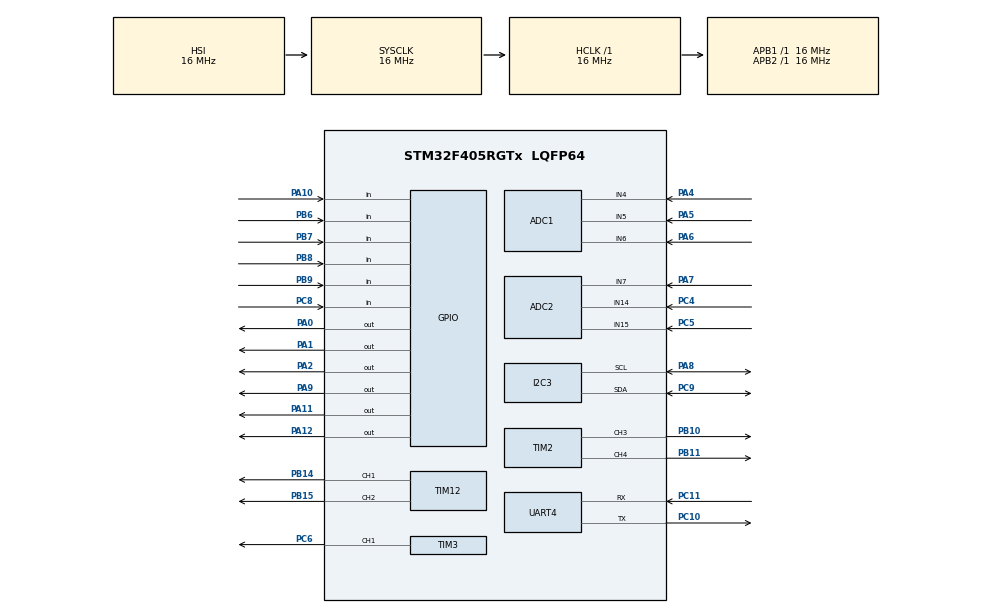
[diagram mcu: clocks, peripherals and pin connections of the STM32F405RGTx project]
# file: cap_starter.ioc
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ADC1.Channel-0\#ChannelRegularConversion=ADC_CHANNEL_4
ADC1.NbrOfConversionFlag=1
ADC1.Rank-0\#ChannelRegularConversion=1
ADC1.SamplingTime-0\#ChannelRegularConversion=ADC_SAMPLETIME_3CYCLES
ADC1.master=1
ADC2.Channel-0\#ChannelRegularConversion=ADC_CHANNEL_7
ADC2.NbrOfConversionFlag=1
ADC2.Rank-0\#ChannelRegularConversion=1
ADC2.SamplingTime-0\#ChannelRegularConversion=ADC_SAMPLETIME_3CYCLES
Mcu.Family=STM32F4
Mcu.Name=STM32F405RGTx
Mcu.Package=LQFP64
NVIC.PriorityGroup=NVIC_PRIORITYGROUP_4
PA0-WKUP.Signal=GPIO_Output
PA1.Signal=GPIO_Output
PA10.Signal=GPIO_Input
PA11.Signal=GPIO_Output
PA12.Signal=GPIO_Output
PA13.Mode=Serial_Wire
PA13.Signal=SYS_JTMS-SWDIO
PA14.Mode=Serial_Wire
PA14.Signal=SYS_JTCK-SWCLK
PA2.Signal=GPIO_Output
PA4.Signal=ADCx_IN4
PA5.Signal=ADCx_IN5
PA6.Signal=ADCx_IN6
PA7.Signal=ADCx_IN7
PA8.Mode=I2C
PA8.Signal=I2C3_SCL
PA9.Signal=GPIO_Output
PB10.Signal=S_TIM2_CH3
PB11.Signal=S_TIM2_CH4
PB14.Signal=S_TIM12_CH1
PB15.Signal=S_TIM12_CH2
PB6.Signal=GPIO_Input
PB7.Signal=GPIO_Input
PB8.Signal=GPIO_Input
PB9.Signal=GPIO_Input
PC10.Mode=Asynchronous
PC10.Signal=UART4_TX
PC11.Mode=Asynchronous
PC11.Signal=UART4_RX
PC4.Signal=ADCx_IN14
PC5.Signal=ADCx_IN15
PC6.Signal=S_TIM3_CH1
PC8.Signal=GPIO_Input
PC9.Mode=I2C
PC9.Signal=I2C3_SDA
ProjectManager.HeapSize=0x200
ProjectManager.StackSize=0x400
ProjectManager.TargetToolchain=CMake
RCC.AHBFreq_Value=16000000
RCC.APB1Freq_Value=16000000
RCC.APB2Freq_Value=16000000
RCC.CortexFreq_Value=16000000
RCC.HSE_VALUE=25000000
RCC.HSI_VALUE=16000000
RCC.LSE_VALUE=32768
RCC.SYSCLKFreq_VALUE=16000000
RCC.VCOOutputFreq_Value=192000000
SH.ADCx_IN14.0=ADC2_IN14,IN14
SH.ADCx_IN15.0=ADC2_IN15,IN15
SH.ADCx_IN4.0=ADC1_IN4,IN4
SH.ADCx_IN5.0=ADC1_IN5,IN5
SH.ADCx_IN6.0=ADC1_IN6,IN6
SH.ADCx_IN7.0=ADC2_IN7,IN7
SH.S_TIM12_CH1.0=TIM12_CH1,PWM Generation1 CH1
SH.S_TIM12_CH2.0=TIM12_CH2,PWM Generation2 CH2
SH.S_TIM2_CH3.0=TIM2_CH3,PWM Generation3 CH3
SH.S_TIM2_CH4.0=TIM2_CH4,PWM Generation4 CH4
SH.S_TIM3_CH1.0=TIM3_CH1,PWM Generation1 CH1
TIM12.Channel-PWM\ Generation1\ CH1=TIM_CHANNEL_1
TIM12.Channel-PWM\ Generation2\ CH2=TIM_CHANNEL_2
TIM2.Channel-PWM\ Generation3\ CH3=TIM_CHANNEL_3
TIM2.Channel-PWM\ Generation4\ CH4=TIM_CHANNEL_4
TIM3.Channel-PWM\ Generation1\ CH1=TIM_CHANNEL_1
UART4.VirtualMode=Asynchronous
board=custom

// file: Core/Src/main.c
/* USER CODE BEGIN Header */
/**
  ******************************************************************************
  * @file           : main.c
  * @brief          : Main program body
  ******************************************************************************
  * @attention
  *
  * Copyright (c) 2026 STMicroelectronics.
  * All rights reserved.
  *
  * This software is licensed under terms that can be found in the LICENSE file
  * in the root directory of this software component.
  * If no LICENSE file comes with this software, it is provided AS-IS.
  *
  ******************************************************************************
  */
/* USER CODE END Header */

#include "main.h"

/* USER CODE BEGIN Includes */
#include <string.h>
#include <stdio.h>
#include <math.h>
/* USER CODE END Includes */

/* USER CODE BEGIN PD */

/* ---- 6 IR sensors pinout ----
   RIGHT: PA4(ADC1_IN4)=0deg, PA5(ADC1_IN5)=45deg, PA6(ADC1_IN6)=15deg
   LEFT : PA7(ADC2_IN7)=15deg, PC4(ADC2_IN14)=45deg, PC5(ADC2_IN15)=0deg
*/
#define ADC_N 6

#define R_0   0
#define R_45  1
#define R_15  2
#define L_15  3
#define L_45  4
#define L_0   5

/* USER CODE END PD */

ADC_HandleTypeDef hadc1;
ADC_HandleTypeDef hadc2;

I2C_HandleTypeDef hi2c3;

TIM_HandleTypeDef htim2;
TIM_HandleTypeDef htim3;
TIM_HandleTypeDef htim12;

UART_HandleTypeDef huart4;

/* USER CODE BEGIN PV */
/* Sensor readings + derived errors */
static uint32_t adc_raw[ADC_N];
static int32_t err_front = 0;
static int32_t err_15    = 0;
static int32_t err_45    = 0;

static float lat_error = 0.0f;   // centering (from 0° pair)
static float yaw_error = 0.0f;   // orientation estimate (from 15° + 45° pairs)
/* USER CODE END PV */

void SystemClock_Config(void);
static void MX_GPIO_Init(void);
static void MX_ADC1_Init(void);
static void MX_ADC2_Init(void);
static void MX_I2C3_Init(void);
static void MX_TIM2_Init(void);
static void MX_TIM3_Init(void);
static void MX_TIM12_Init(void);
static void MX_UART4_Init(void);

/* USER CODE BEGIN 0 */

// Helper to read a single ADC channel (since we're not using scan mode)
static uint32_t adc_read_channel(ADC_HandleTypeDef *hadc, uint32_t channel)
{
  ADC_ChannelConfTypeDef sConfig = {0};

  sConfig.Channel = channel;
  sConfig.Rank = 1;
  sConfig.SamplingTime = ADC_SAMPLETIME_3CYCLES; // keep consistent with CubeMX init

  if (HAL_ADC_ConfigChannel(hadc, &sConfig) != HAL_OK)
  {
    Error_Handler();
  }
  // Start conversion and wait for completion
  HAL_ADC_Start(hadc);
  HAL_ADC_PollForConversion(hadc, HAL_MAX_DELAY);
  // Read value and stop ADC (since we're not in continuous mode)
  uint32_t v = HAL_ADC_GetValue(hadc);
  HAL_ADC_Stop(hadc);
  return v;
}

/* USER CODE END 0 */

int main(void)
{
  HAL_Init();
  SystemClock_Config();

  MX_GPIO_Init();
  MX_ADC1_Init();
  MX_ADC2_Init();
  MX_I2C3_Init();
  MX_TIM2_Init();
  MX_TIM3_Init();
  MX_TIM12_Init();
  MX_UART4_Init();

  /* Infinite loop */
  /* USER CODE BEGIN WHILE */
  while (1)
  {
    // Read all 6 sensors
    adc_raw[R_0]  = adc_read_channel(&hadc1, ADC_CHANNEL_4);   // PA4  ADC1_IN4  Right 0
    adc_raw[R_45] = adc_read_channel(&hadc1, ADC_CHANNEL_5);   // PA5  ADC1_IN5  Right 45
    adc_raw[R_15] = adc_read_channel(&hadc1, ADC_CHANNEL_6);   // PA6  ADC1_IN6  Right 15

    adc_raw[L_15] = adc_read_channel(&hadc2, ADC_CHANNEL_7);   // PA7  ADC2_IN7  Left 15
    adc_raw[L_45] = adc_read_channel(&hadc2, ADC_CHANNEL_14);  // PC4  ADC2_IN14 Left 45
    adc_raw[L_0]  = adc_read_channel(&hadc2, ADC_CHANNEL_15);  // PC5  ADC2_IN15 Left 0

    // Compute errors
    err_front = (int32_t)adc_raw[R_0]  - (int32_t)adc_raw[L_0];
    err_15    = (int32_t)adc_raw[R_15] - (int32_t)adc_raw[L_15];
    err_45    = (int32_t)adc_raw[R_45] - (int32_t)adc_raw[L_45];

    // Transmission of info
    char msg[260];
    snprintf(msg, sizeof(msg),
      "R0=%lu L0=%lu | R15=%lu L15=%lu | R45=%lu L45=%lu | "
      "e0=%ld e15=%ld e45=%ld\n",
      adc_raw[R_0],  adc_raw[L_0],
      adc_raw[R_15], adc_raw[L_15],
      adc_raw[R_45], adc_raw[L_45],
      err_front, err_15, err_45);

    HAL_UART_Transmit(&huart4, (uint8_t*)msg, (uint16_t)strlen(msg), HAL_MAX_DELAY);

    HAL_Delay(50);
  }
  /* USER CODE END WHILE */

}

/* Everything below here is CubeMX-generated code (unchanged) */

void SystemClock_Config(void)
{
  RCC_OscInitTypeDef RCC_OscInitStruct = {0};
  RCC_ClkInitTypeDef RCC_ClkInitStruct = {0};

  __HAL_RCC_PWR_CLK_ENABLE();
  __HAL_PWR_VOLTAGESCALING_CONFIG(PWR_REGULATOR_VOLTAGE_SCALE1);

  RCC_OscInitStruct.OscillatorType = RCC_OSCILLATORTYPE_HSI;
  RCC_OscInitStruct.HSIState = RCC_HSI_ON;
  RCC_OscInitStruct.HSICalibrationValue = RCC_HSICALIBRATION_DEFAULT;
  RCC_OscInitStruct.PLL.PLLState = RCC_PLL_NONE;
  if (HAL_RCC_OscConfig(&RCC_OscInitStruct) != HAL_OK)
  {
    Error_Handler();
  }

  RCC_ClkInitStruct.ClockType = RCC_CLOCKTYPE_HCLK|RCC_CLOCKTYPE_SYSCLK
                              |RCC_CLOCKTYPE_PCLK1|RCC_CLOCKTYPE_PCLK2;
  RCC_ClkInitStruct.SYSCLKSource = RCC_SYSCLKSOURCE_HSI;
  RCC_ClkInitStruct.AHBCLKDivider = RCC_SYSCLK_DIV1;
  RCC_ClkInitStruct.APB1CLKDivider = RCC_HCLK_DIV1;
  RCC_ClkInitStruct.APB2CLKDivider = RCC_HCLK_DIV1;

  if (HAL_RCC_ClockConfig(&RCC_ClkInitStruct, FLASH_LATENCY_0) != HAL_OK)
  {
    Error_Handler();
  }
}

static void MX_ADC1_Init(void)
{
  ADC_ChannelConfTypeDef sConfig = {0};

  hadc1.Instance = ADC1;
  hadc1.Init.ClockPrescaler = ADC_CLOCK_SYNC_PCLK_DIV2;
  hadc1.Init.Resolution = ADC_RESOLUTION_12B;
  hadc1.Init.ScanConvMode = DISABLE;
  hadc1.Init.ContinuousConvMode = DISABLE;
  hadc1.Init.DiscontinuousConvMode = DISABLE;
  hadc1.Init.ExternalTrigConvEdge = ADC_EXTERNALTRIGCONVEDGE_NONE;
  hadc1.Init.ExternalTrigConv = ADC_SOFTWARE_START;
  hadc1.Init.DataAlign = ADC_DATAALIGN_RIGHT;
  hadc1.Init.NbrOfConversion = 1;
  hadc1.Init.DMAContinuousRequests = DISABLE;
  hadc1.Init.EOCSelection = ADC_EOC_SINGLE_CONV;
  if (HAL_ADC_Init(&hadc1) != HAL_OK)
  {
    Error_Handler();
  }

  /* Default channel (we override per-read in adc_read_channel) */
  sConfig.Channel = ADC_CHANNEL_4;
  sConfig.Rank = 1;
  sConfig.SamplingTime = ADC_SAMPLETIME_3CYCLES;
  if (HAL_ADC_ConfigChannel(&hadc1, &sConfig) != HAL_OK)
  {
    Error_Handler();
  }
}

static void MX_ADC2_Init(void)
{
  ADC_ChannelConfTypeDef sConfig = {0};

  hadc2.Instance = ADC2;
  hadc2.Init.ClockPrescaler = ADC_CLOCK_SYNC_PCLK_DIV2;
  hadc2.Init.Resolution = ADC_RESOLUTION_12B;
  hadc2.Init.ScanConvMode = DISABLE;
  hadc2.Init.ContinuousConvMode = DISABLE;
  hadc2.Init.DiscontinuousConvMode = DISABLE;
  hadc2.Init.ExternalTrigConvEdge = ADC_EXTERNALTRIGCONVEDGE_NONE;
  hadc2.Init.ExternalTrigConv = ADC_SOFTWARE_START;
  hadc2.Init.DataAlign = ADC_DATAALIGN_RIGHT;
  hadc2.Init.NbrOfConversion = 1;
  hadc2.Init.DMAContinuousRequests = DISABLE;
  hadc2.Init.EOCSelection = ADC_EOC_SINGLE_CONV;
  if (HAL_ADC_Init(&hadc2) != HAL_OK)
  {
    Error_Handler();
  }

  /* Default channel (we override per-read in adc_read_channel) */
  sConfig.Channel = ADC_CHANNEL_7;
  sConfig.Rank = 1;
  sConfig.SamplingTime = ADC_SAMPLETIME_3CYCLES;
  if (HAL_ADC_ConfigChannel(&hadc2, &sConfig) != HAL_OK)
  {
    Error_Handler();
  }
}

static void MX_I2C3_Init(void)
{
  hi2c3.Instance = I2C3;
  hi2c3.Init.ClockSpeed = 100000;
  hi2c3.Init.DutyCycle = I2C_DUTYCYCLE_2;
  hi2c3.Init.OwnAddress1 = 0;
  hi2c3.Init.AddressingMode = I2C_ADDRESSINGMODE_7BIT;
  hi2c3.Init.DualAddressMode = I2C_DUALADDRESS_DISABLE;
  hi2c3.Init.OwnAddress2 = 0;
  hi2c3.Init.GeneralCallMode = I2C_GENERALCALL_DISABLE;
  hi2c3.Init.NoStretchMode = I2C_NOSTRETCH_DISABLE;
  if (HAL_I2C_Init(&hi2c3) != HAL_OK)
  {
    Error_Handler();
  }
}

static void MX_TIM2_Init(void)
{
  TIM_MasterConfigTypeDef sMasterConfig = {0};
  TIM_OC_InitTypeDef sConfigOC = {0};

  htim2.Instance = TIM2;
  htim2.Init.Prescaler = 0;
  htim2.Init.CounterMode = TIM_COUNTERMODE_UP;
  htim2.Init.Period = 4294967295;
  htim2.Init.ClockDivision = TIM_CLOCKDIVISION_DIV1;
  htim2.Init.AutoReloadPreload = TIM_AUTORELOAD_PRELOAD_DISABLE;
  if (HAL_TIM_PWM_Init(&htim2) != HAL_OK)
  {
    Error_Handler();
  }
  sMasterConfig.MasterOutputTrigger = TIM_TRGO_RESET;
  sMasterConfig.MasterSlaveMode = TIM_MASTERSLAVEMODE_DISABLE;
  if (HAL_TIMEx_MasterConfigSynchronization(&htim2, &sMasterConfig) != HAL_OK)
  {
    Error_Handler();
  }
  sConfigOC.OCMode = TIM_OCMODE_PWM1;
  sConfigOC.Pulse = 0;
  sConfigOC.OCPolarity = TIM_OCPOLARITY_HIGH;
  sConfigOC.OCFastMode = TIM_OCFAST_DISABLE;
  if (HAL_TIM_PWM_ConfigChannel(&htim2, &sConfigOC, TIM_CHANNEL_3) != HAL_OK)
  {
    Error_Handler();
  }
  if (HAL_TIM_PWM_ConfigChannel(&htim2, &sConfigOC, TIM_CHANNEL_4) != HAL_OK)
  {
    Error_Handler();
  }
  HAL_TIM_MspPostInit(&htim2);
}

static void MX_TIM3_Init(void)
{
  TIM_MasterConfigTypeDef sMasterConfig = {0};
  TIM_OC_InitTypeDef sConfigOC = {0};

  htim3.Instance = TIM3;
  htim3.Init.Prescaler = 0;
  htim3.Init.CounterMode = TIM_COUNTERMODE_UP;
  htim3.Init.Period = 65535;
  htim3.Init.ClockDivision = TIM_CLOCKDIVISION_DIV1;
  htim3.Init.AutoReloadPreload = TIM_AUTORELOAD_PRELOAD_DISABLE;
  if (HAL_TIM_PWM_Init(&htim3) != HAL_OK)
  {
    Error_Handler();
  }
  sMasterConfig.MasterOutputTrigger = TIM_TRGO_RESET;
  sMasterConfig.MasterSlaveMode = TIM_MASTERSLAVEMODE_DISABLE;
  if (HAL_TIMEx_MasterConfigSynchronization(&htim3, &sMasterConfig) != HAL_OK)
  {
    Error_Handler();
  }
  sConfigOC.OCMode = TIM_OCMODE_PWM1;
  sConfigOC.Pulse = 0;
  sConfigOC.OCPolarity = TIM_OCPOLARITY_HIGH;
  sConfigOC.OCFastMode = TIM_OCFAST_DISABLE;
  if (HAL_TIM_PWM_ConfigChannel(&htim3, &sConfigOC, TIM_CHANNEL_1) != HAL_OK)
  {
    Error_Handler();
  }
  HAL_TIM_MspPostInit(&htim3);
}

static void MX_TIM12_Init(void)
{
  TIM_OC_InitTypeDef sConfigOC = {0};

  htim12.Instance = TIM12;
  htim12.Init.Prescaler = 0;
  htim12.Init.CounterMode = TIM_COUNTERMODE_UP;
  htim12.Init.Period = 65535;
  htim12.Init.ClockDivision = TIM_CLOCKDIVISION_DIV1;
  htim12.Init.AutoReloadPreload = TIM_AUTORELOAD_PRELOAD_DISABLE;
  if (HAL_TIM_PWM_Init(&htim12) != HAL_OK)
  {
    Error_Handler();
  }
  sConfigOC.OCMode = TIM_OCMODE_PWM1;
  sConfigOC.Pulse = 0;
  sConfigOC.OCPolarity = TIM_OCPOLARITY_HIGH;
  sConfigOC.OCFastMode = TIM_OCFAST_DISABLE;
  if (HAL_TIM_PWM_ConfigChannel(&htim12, &sConfigOC, TIM_CHANNEL_1) != HAL_OK)
  {
    Error_Handler();
  }
  if (HAL_TIM_PWM_ConfigChannel(&htim12, &sConfigOC, TIM_CHANNEL_2) != HAL_OK)
  {
    Error_Handler();
  }
  HAL_TIM_MspPostInit(&htim12);
}

static void MX_UART4_Init(void)
{
  huart4.Instance = UART4;
  huart4.Init.BaudRate = 115200;
  huart4.Init.WordLength = UART_WORDLENGTH_8B;
  huart4.Init.StopBits = UART_STOPBITS_1;
  huart4.Init.Parity = UART_PARITY_NONE;
  huart4.Init.Mode = UART_MODE_TX_RX;
  huart4.Init.HwFlowCtl = UART_HWCONTROL_NONE;
  huart4.Init.OverSampling = UART_OVERSAMPLING_16;
  if (HAL_UART_Init(&huart4) != HAL_OK)
  {
    Error_Handler();
  }
}

static void MX_GPIO_Init(void)
{
  GPIO_InitTypeDef GPIO_InitStruct = {0};

  __HAL_RCC_GPIOA_CLK_ENABLE();
  __HAL_RCC_GPIOC_CLK_ENABLE();
  __HAL_RCC_GPIOB_CLK_ENABLE();

  HAL_GPIO_WritePin(GPIOA, GPIO_PIN_0|GPIO_PIN_1|GPIO_PIN_2|GPIO_PIN_9
                          |GPIO_PIN_11|GPIO_PIN_12, GPIO_PIN_RESET);

  GPIO_InitStruct.Pin = GPIO_PIN_0|GPIO_PIN_1|GPIO_PIN_2|GPIO_PIN_9
                          |GPIO_PIN_11|GPIO_PIN_12;
  GPIO_InitStruct.Mode = GPIO_MODE_OUTPUT_PP;
  GPIO_InitStruct.Pull = GPIO_NOPULL;
  GPIO_InitStruct.Speed = GPIO_SPEED_FREQ_LOW;
  HAL_GPIO_Init(GPIOA, &GPIO_InitStruct);

  GPIO_InitStruct.Pin = GPIO_PIN_8;
  GPIO_InitStruct.Mode = GPIO_MODE_INPUT;
  GPIO_InitStruct.Pull = GPIO_NOPULL;
  HAL_GPIO_Init(GPIOC, &GPIO_InitStruct);

  GPIO_InitStruct.Pin = GPIO_PIN_10;
  GPIO_InitStruct.Mode = GPIO_MODE_INPUT;
  GPIO_InitStruct.Pull = GPIO_NOPULL;
  HAL_GPIO_Init(GPIOA, &GPIO_InitStruct);

  GPIO_InitStruct.Pin = GPIO_PIN_6|GPIO_PIN_7|GPIO_PIN_8|GPIO_PIN_9;
  GPIO_InitStruct.Mode = GPIO_MODE_INPUT;
  GPIO_InitStruct.Pull = GPIO_NOPULL;
  HAL_GPIO_Init(GPIOB, &GPIO_InitStruct);
}

void Error_Handler(void)
{
  __disable_irq();
  while (1)
  {
  }
}
